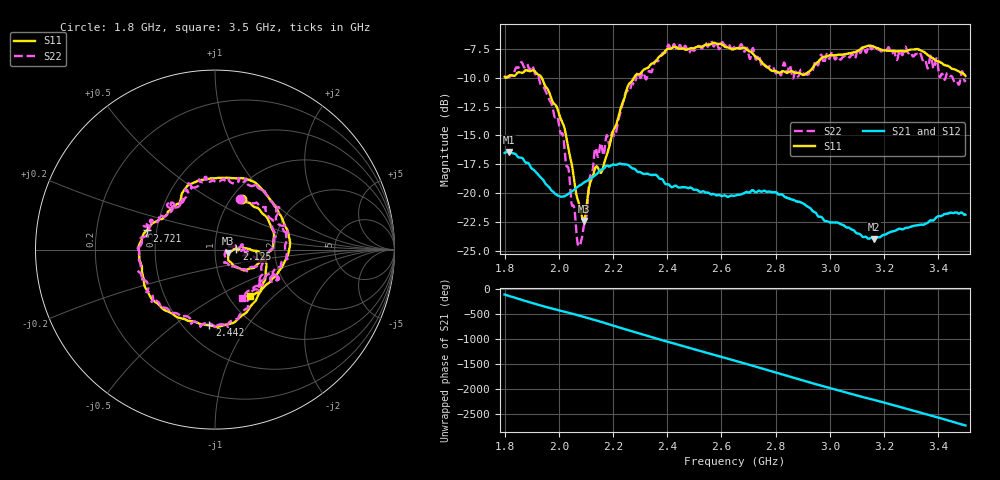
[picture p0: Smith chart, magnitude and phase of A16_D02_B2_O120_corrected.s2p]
! Created with skrf 1.9.0 (http://scikit-rf.org).
# Hz S RI R 50.0
!freq ReS11 ImS11 ReS21 ImS21 ReS12 ImS12 ReS22 ImS22
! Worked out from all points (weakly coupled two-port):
!   1601 points, 1.8 GHz to 3.5 GHz, reference 50 ohm
!   highest |S21| = -16.43 dB at 1.817 GHz (marker M1); lowest = -24.0 dB at 3.163 GHz (marker M2)
!   lowest |S11| = -22.4 dB at 2.092 GHz (marker M3), VSWR 1.16, Z = 57.8 - j2.43 ohm
!   |S11| at or under -10 dB: 1.804561 GHz to 1.808094 GHz (3.533 MHz wide, 0.196 % of centre); 1.937 GHz to 2.277 GHz (340.6 MHz wide, 16.2 % of centre)
!   |S22| runs from -24.6 to -6.8 dB; largest |S21 - S12| = 0.0025
!   S11 on the Smith chart (normalised r, x): 1.8 GHz: 1.12, +0.70; 2.125 GHz: 1.27, +0.01; 2.442 GHz: 0.66, -0.68; 2.721 GHz: 0.44, +0.11; 3.5 GHz: 1.26, -0.72
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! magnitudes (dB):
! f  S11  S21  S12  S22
! 1.8 GHz  -9.9  -16.5  -16.5  -10.0
! 1.817 GHz  -9.8  -16.4  -16.4  -9.9
! 1.902 GHz  -9.4  -17.9  -17.8  -9.0
! 1.967 GHz  -11.4  -19.5  -19.6  -12.0
! 2.02 GHz  -14.3  -20.3  -20.3  -15.9
! 2.07 GHz  -20.6  -19.4  -19.5  -24.4
! 2.084 GHz  -21.8  -19.2  -19.2  -24.0
! 2.092 GHz  -22.4  -19.1  -19.1  -22.8
! 2.125 GHz  -18.5  -18.6  -18.6  -18.0
! 2.161 GHz  -17.9  -17.9  -17.8  -16.4
! 2.209 GHz  -14.2  -17.5  -17.5  -14.9
! 2.259 GHz  -10.5  -17.6  -17.6  -11.2
! 2.367 GHz  -8.3  -18.6  -18.6  -8.5
! 2.442 GHz  -7.5  -19.5  -19.5  -7.4
! 2.65 GHz  -7.5  -20.2  -20.2  -7.3
! 2.721 GHz  -8.1  -19.8  -19.7  -7.9
! 2.812 GHz  -9.6  -20.1  -20.0  -9.4
! 2.934 GHz  -9.2  -21.5  -21.4  -9.5
! 3.163 GHz  -7.3  -24.0  -23.9  -7.2
! 3.217 GHz  -7.7  -23.4  -23.4  -7.4
! 3.328 GHz  -7.6  -22.7  -22.7  -7.8
! 3.5 GHz  -9.9  -21.8  -21.8  -10.2
